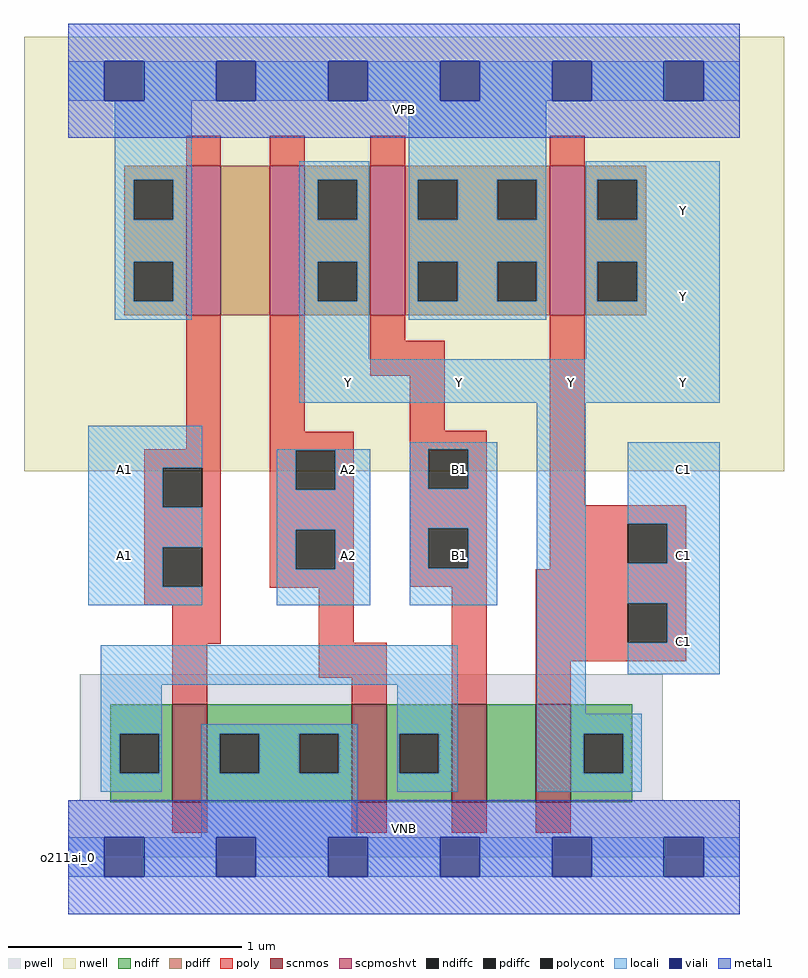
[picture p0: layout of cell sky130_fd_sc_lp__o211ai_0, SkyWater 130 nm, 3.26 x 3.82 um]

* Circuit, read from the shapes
.subckt sky130_fd_sc_lp__o211ai_0 A1 A2 B1 C1 VGND VNB VPB VPWR Y
XM1 VGND A1 n1 VNB sky130_fd_pr__nfet_01v8 w=0.42 l=0.15
XM2 n1 A2 VGND VNB sky130_fd_pr__nfet_01v8 w=0.42 l=0.15
XM3 n2 B1 n1 VNB sky130_fd_pr__nfet_01v8 w=0.42 l=0.15
XM4 Y C1 n2 VNB sky130_fd_pr__nfet_01v8 w=0.42 l=0.15
XM5 n3 A1 VPWR VPB sky130_fd_pr__pfet_01v8_hvt w=0.64 l=0.15
XM6 Y A2 n3 VPB sky130_fd_pr__pfet_01v8_hvt w=0.64 l=0.15
XM7 VPWR B1 Y VPB sky130_fd_pr__pfet_01v8_hvt w=0.64 l=0.15
XM8 Y C1 VPWR VPB sky130_fd_pr__pfet_01v8_hvt w=0.64 l=0.15
.ends

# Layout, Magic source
magic
tech sky130A
magscale 1 2
<< nwell >>
rect -38 331 614 704
<< pwell >>
rect 10 49 510 157
rect 0 0 576 49
<< scnmos >>
rect 89 47 119 131
rect 243 47 273 131
rect 329 47 359 131
rect 401 47 431 131
<< scpmoshvt >>
rect 101 465 131 593
rect 173 465 203 593
rect 259 465 289 593
rect 413 465 443 593
<< ndiff >>
rect 36 106 89 131
rect 36 72 44 106
rect 78 72 89 106
rect 36 47 89 72
rect 119 106 243 131
rect 119 72 130 106
rect 164 72 198 106
rect 232 72 243 106
rect 119 47 243 72
rect 273 106 329 131
rect 273 72 284 106
rect 318 72 329 106
rect 273 47 329 72
rect 359 47 401 131
rect 431 106 484 131
rect 431 72 442 106
rect 476 72 484 106
rect 431 47 484 72
<< pdiff >>
rect 48 581 101 593
rect 48 547 56 581
rect 90 547 101 581
rect 48 511 101 547
rect 48 477 56 511
rect 90 477 101 511
rect 48 465 101 477
rect 131 465 173 593
rect 203 581 259 593
rect 203 547 214 581
rect 248 547 259 581
rect 203 511 259 547
rect 203 477 214 511
rect 248 477 259 511
rect 203 465 259 477
rect 289 581 413 593
rect 289 547 300 581
rect 334 547 368 581
rect 402 547 413 581
rect 289 511 413 547
rect 289 477 300 511
rect 334 477 368 511
rect 402 477 413 511
rect 289 465 413 477
rect 443 581 496 593
rect 443 547 454 581
rect 488 547 496 581
rect 443 511 496 547
rect 443 477 454 511
rect 488 477 496 511
rect 443 465 496 477
<< ndiffc >>
rect 44 72 78 106
rect 130 72 164 106
rect 198 72 232 106
rect 284 72 318 106
rect 442 72 476 106
<< pdiffc >>
rect 56 547 90 581
rect 56 477 90 511
rect 214 547 248 581
rect 214 477 248 511
rect 300 547 334 581
rect 368 547 402 581
rect 300 477 334 511
rect 368 477 402 511
rect 454 547 488 581
rect 454 477 488 511
<< poly >>
rect 101 593 131 619
rect 173 593 203 619
rect 259 593 289 619
rect 413 593 443 619
rect 101 350 131 465
rect 65 334 131 350
rect 65 300 81 334
rect 115 300 131 334
rect 65 266 131 300
rect 65 232 81 266
rect 115 232 131 266
rect 65 216 131 232
rect 173 365 203 465
rect 259 443 289 465
rect 259 413 323 443
rect 293 366 323 413
rect 173 349 245 365
rect 173 315 195 349
rect 229 315 245 349
rect 173 281 245 315
rect 173 247 195 281
rect 229 247 245 281
rect 173 231 245 247
rect 293 350 359 366
rect 293 316 309 350
rect 343 316 359 350
rect 293 282 359 316
rect 293 248 309 282
rect 343 248 359 282
rect 293 232 359 248
rect 413 302 443 465
rect 413 286 530 302
rect 413 252 480 286
rect 514 252 530 286
rect 413 247 530 252
rect 89 183 131 216
rect 215 184 245 231
rect 89 131 119 183
rect 215 154 273 184
rect 243 131 273 154
rect 329 131 359 232
rect 401 218 530 247
rect 401 184 480 218
rect 514 184 530 218
rect 401 168 530 184
rect 401 131 431 168
rect 89 21 119 47
rect 243 21 273 47
rect 329 21 359 47
rect 401 21 431 47
<< polycont >>
rect 81 300 115 334
rect 81 232 115 266
rect 195 315 229 349
rect 195 247 229 281
rect 309 316 343 350
rect 309 248 343 282
rect 480 252 514 286
rect 480 184 514 218
<< locali >>
rect 0 649 31 683
rect 65 649 127 683
rect 161 649 223 683
rect 257 649 319 683
rect 353 649 415 683
rect 449 649 511 683
rect 545 649 576 683
rect 40 581 106 649
rect 40 547 56 581
rect 90 547 106 581
rect 40 511 106 547
rect 40 477 56 511
rect 90 477 106 511
rect 40 461 106 477
rect 198 581 258 597
rect 198 547 214 581
rect 248 547 258 581
rect 198 511 258 547
rect 198 477 214 511
rect 248 477 258 511
rect 198 427 258 477
rect 292 581 410 649
rect 292 547 300 581
rect 334 547 368 581
rect 402 547 410 581
rect 292 511 410 547
rect 292 477 300 511
rect 334 477 368 511
rect 402 477 410 511
rect 292 461 410 477
rect 444 581 559 597
rect 444 547 454 581
rect 488 547 559 581
rect 444 511 559 547
rect 444 477 454 511
rect 488 477 559 511
rect 444 427 559 477
rect 198 390 559 427
rect 17 334 115 370
rect 293 350 368 356
rect 17 300 81 334
rect 17 266 115 300
rect 17 232 81 266
rect 17 216 115 232
rect 179 349 259 350
rect 179 315 195 349
rect 229 315 259 349
rect 179 281 259 315
rect 179 247 195 281
rect 229 247 259 281
rect 179 216 259 247
rect 293 316 309 350
rect 343 316 368 350
rect 293 282 368 316
rect 293 248 309 282
rect 343 248 368 282
rect 293 216 368 248
rect 28 148 334 182
rect 28 106 80 148
rect 28 72 44 106
rect 78 72 80 106
rect 28 56 80 72
rect 114 106 248 114
rect 114 72 130 106
rect 164 72 198 106
rect 232 72 248 106
rect 114 17 248 72
rect 282 106 334 148
rect 282 72 284 106
rect 318 72 334 106
rect 282 56 334 72
rect 402 123 444 390
rect 480 286 559 356
rect 514 252 559 286
rect 480 218 559 252
rect 514 184 559 218
rect 480 157 559 184
rect 402 106 492 123
rect 402 72 442 106
rect 476 72 492 106
rect 402 56 492 72
rect 0 -17 31 17
rect 65 -17 127 17
rect 161 -17 223 17
rect 257 -17 319 17
rect 353 -17 415 17
rect 449 -17 511 17
rect 545 -17 576 17
<< viali >>
rect 31 649 65 683
rect 127 649 161 683
rect 223 649 257 683
rect 319 649 353 683
rect 415 649 449 683
rect 511 649 545 683
rect 31 -17 65 17
rect 127 -17 161 17
rect 223 -17 257 17
rect 319 -17 353 17
rect 415 -17 449 17
rect 511 -17 545 17
<< metal1 >>
rect 0 683 576 715
rect 0 649 31 683
rect 65 649 127 683
rect 161 649 223 683
rect 257 649 319 683
rect 353 649 415 683
rect 449 649 511 683
rect 545 649 576 683
rect 0 617 576 649
rect 0 17 576 49
rect 0 -17 31 17
rect 65 -17 127 17
rect 161 -17 223 17
rect 257 -17 319 17
rect 353 -17 415 17
rect 449 -17 511 17
rect 545 -17 576 17
rect 0 -49 576 -17
<< labels >>
flabel pwell s 0 0 576 49 0 FreeSans 200 0 0 0 VNB
port 6 nsew ground bidirectional
flabel nwell s 0 617 576 666 0 FreeSans 200 0 0 0 VPB
port 7 nsew power bidirectional
rlabel comment s 0 0 0 0 4 o211ai_0
flabel metal1 s 0 617 576 666 0 FreeSans 340 0 0 0 VPWR
port 8 nsew power bidirectional
flabel metal1 s 0 0 576 49 0 FreeSans 340 0 0 0 VGND
port 5 nsew ground bidirectional
flabel locali s 31 242 65 276 0 FreeSans 340 0 0 0 A1
port 1 nsew signal input
flabel locali s 31 316 65 350 0 FreeSans 340 0 0 0 A1
port 1 nsew signal input
flabel locali s 223 242 257 276 0 FreeSans 340 0 0 0 A2
port 2 nsew signal input
flabel locali s 223 316 257 350 0 FreeSans 340 0 0 0 A2
port 2 nsew signal input
flabel locali s 319 242 353 276 0 FreeSans 340 0 0 0 B1
port 3 nsew signal input
flabel locali s 319 316 353 350 0 FreeSans 340 0 0 0 B1
port 3 nsew signal input
flabel locali s 511 168 545 202 0 FreeSans 340 0 0 0 C1
port 4 nsew signal input
flabel locali s 511 242 545 276 0 FreeSans 340 0 0 0 C1
port 4 nsew signal input
flabel locali s 511 316 545 350 0 FreeSans 340 0 0 0 C1
port 4 nsew signal input
flabel locali s 223 390 257 424 0 FreeSans 340 0 0 0 Y
port 9 nsew signal output
flabel locali s 319 390 353 424 0 FreeSans 340 0 0 0 Y
port 9 nsew signal output
flabel locali s 415 390 449 424 0 FreeSans 340 0 0 0 Y
port 9 nsew signal output
flabel locali s 511 390 545 424 0 FreeSans 340 0 0 0 Y
port 9 nsew signal output
flabel locali s 511 538 545 572 0 FreeSans 340 0 0 0 Y
port 9 nsew signal output
flabel locali s 511 464 545 498 0 FreeSans 340 0 0 0 Y
port 9 nsew signal output
<< properties >>
string LEFsite unit
string LEFclass CORE
string FIXED_BBOX 0 0 576 666
string GDS_FILE $PDKPATH/libs.ref/sky130_fd_sc_lp/gds/sky130_fd_sc_lp.gds
string LEFsymmetry X Y R90
string GDS_END 6787006
string GDS_START 6780190
<< end >>
